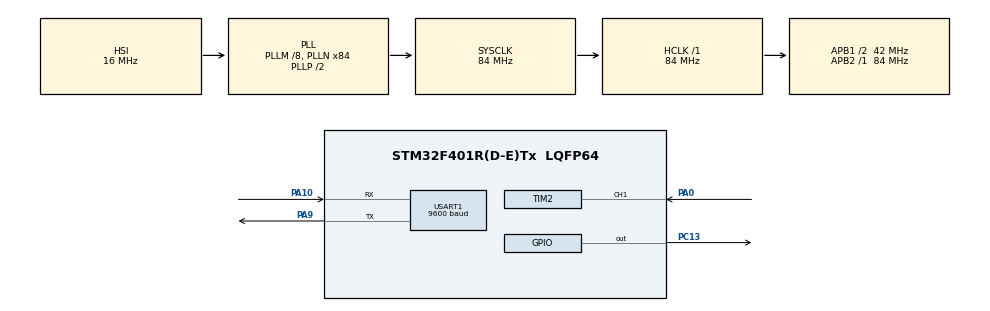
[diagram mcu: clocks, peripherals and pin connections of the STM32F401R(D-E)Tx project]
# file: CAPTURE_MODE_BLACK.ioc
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Mcu.Family=STM32F4
Mcu.Name=STM32F401R(D-E)Tx
Mcu.Package=LQFP64
NVIC.PriorityGroup=NVIC_PRIORITYGROUP_4
NVIC.TIM2_IRQn=true\:0\:0\:false\:false\:true\:true\:true\:true
PA0-WKUP.Signal=S_TIM2_CH1_ETR
PA10.Mode=Asynchronous
PA10.Signal=USART1_RX
PA13.Mode=Serial_Wire
PA13.Signal=SYS_JTMS-SWDIO
PA14.Mode=Serial_Wire
PA14.Signal=SYS_JTCK-SWCLK
PA9.Mode=Asynchronous
PA9.Signal=USART1_TX
PC13-ANTI_TAMP.Signal=GPIO_Output
PH0\ -\ OSC_IN.Mode=HSE-External-Oscillator
PH0\ -\ OSC_IN.Signal=RCC_OSC_IN
PH1\ -\ OSC_OUT.Mode=HSE-External-Oscillator
PH1\ -\ OSC_OUT.Signal=RCC_OSC_OUT
ProjectManager.HeapSize=0x200
ProjectManager.StackSize=0x400
ProjectManager.TargetToolchain=STM32CubeIDE
RCC.48MHZClocksFreq_Value=42000000
RCC.AHBFreq_Value=84000000
RCC.APB1CLKDivider=RCC_HCLK_DIV2
RCC.APB1Freq_Value=42000000
RCC.APB1TimFreq_Value=84000000
RCC.APB2Freq_Value=84000000
RCC.APB2TimFreq_Value=84000000
RCC.CortexFreq_Value=84000000
RCC.HCLKFreq_Value=84000000
RCC.HSE_VALUE=8000000
RCC.HSI_VALUE=16000000
RCC.LSE_VALUE=32768
RCC.PLLM=8
RCC.PLLN=84
RCC.SYSCLKFreq_VALUE=84000000
RCC.SYSCLKSource=RCC_SYSCLKSOURCE_PLLCLK
RCC.VCOOutputFreq_Value=168000000
SH.S_TIM2_CH1_ETR.0=TIM2_CH1,Input_Capture1_from_TI1
TIM2.Channel-Input_Capture1_from_TI1=TIM_CHANNEL_1
TIM2.ICFilter_CH1=15
TIM2.ICPolarity_CH1=TIM_INPUTCHANNELPOLARITY_RISING
TIM2.Period=4294967295
TIM2.Prescaler=83
USART1.BaudRate=9600
USART1.VirtualMode=VM_ASYNC
VP_TIM2_VS_ClockSourceINT.Mode=Internal
board=custom

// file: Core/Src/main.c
/* USER CODE BEGIN Header */
/**
  ******************************************************************************
  * @file           : main.c
  * @brief          : Main program body
  ******************************************************************************
  * @attention
  *
  * Copyright (c) 2024 STMicroelectronics.
  * All rights reserved.
  *
  * This software is licensed under terms that can be found in the LICENSE file
  * in the root directory of this software component.
  * If no LICENSE file comes with this software, it is provided AS-IS.
  *
  ******************************************************************************
  */
/* USER CODE END Header */
#include "main.h"

 TIM_HandleTypeDef htim2;

UART_HandleTypeDef huart1;

/* USER CODE BEGIN PV */
 volatile uint16_t start1 = 0, end_imp1 = 0, end_per1 = 0, start2 = 0, end_imp2 = 0, end_per2 = 0;
 volatile uint16_t period1 = 0, fill_factor1 = 0, long_imp1 = 0, period2 = 0, fill_factor2 = 0, long_imp2 = 0;
 volatile uint16_t freq1 = 0, freq2 = 0;
 volatile uint8_t flag_IC = 0;
/* USER CODE END PV */

void SystemClock_Config(void);
static void MX_GPIO_Init(void);
static void MX_TIM2_Init(void);
static void MX_USART1_UART_Init(void);

int main(void)
{

  /* MCU Configuration--------------------------------------------------------*/

  /* Reset of all peripherals, Initializes the Flash interface and the Systick. */
  HAL_Init();

  /* Configure the system clock */
  SystemClock_Config();

  /* Initialize all configured peripherals */
  MX_GPIO_Init();
  MX_TIM2_Init();
  MX_USART1_UART_Init();
  /* USER CODE BEGIN 2 */
  HAL_TIM_IC_Start_IT(&htim2, TIM_CHANNEL_1);
  HAL_TIM_IC_Start_IT(&htim2, TIM_CHANNEL_2);

  /* USER CODE END 2 */

  /* Infinite loop */
  /* USER CODE BEGIN WHILE */
  while (1)
  {
	  if(flag_IC == 1)
	  	{
	  		CALC_FREQ();
	  		flag_IC = 0;
	  	}
	  if(period1 > 2400)
	  {
		  HAL_GPIO_WritePin(GPIOC, GPIO_PIN_13, GPIO_PIN_SET);
	  }
	  else{
		  HAL_GPIO_WritePin(GPIOC, GPIO_PIN_13, GPIO_PIN_RESET);
	  }
    /* USER CODE END WHILE */

  }
}

void SystemClock_Config(void)
{
  RCC_OscInitTypeDef RCC_OscInitStruct = {0};
  RCC_ClkInitTypeDef RCC_ClkInitStruct = {0};

  /** Configure the main internal regulator output voltage
  */
  __HAL_RCC_PWR_CLK_ENABLE();
  __HAL_PWR_VOLTAGESCALING_CONFIG(PWR_REGULATOR_VOLTAGE_SCALE2);

  /** Initializes the RCC Oscillators according to the specified parameters
  * in the RCC_OscInitTypeDef structure.
  */
  RCC_OscInitStruct.OscillatorType = RCC_OSCILLATORTYPE_HSI;
  RCC_OscInitStruct.HSIState = RCC_HSI_ON;
  RCC_OscInitStruct.HSICalibrationValue = RCC_HSICALIBRATION_DEFAULT;
  RCC_OscInitStruct.PLL.PLLState = RCC_PLL_ON;
  RCC_OscInitStruct.PLL.PLLSource = RCC_PLLSOURCE_HSI;
  RCC_OscInitStruct.PLL.PLLM = 8;
  RCC_OscInitStruct.PLL.PLLN = 84;
  RCC_OscInitStruct.PLL.PLLP = RCC_PLLP_DIV2;
  RCC_OscInitStruct.PLL.PLLQ = 4;
  if (HAL_RCC_OscConfig(&RCC_OscInitStruct) != HAL_OK)
  {
    Error_Handler();
  }

  /** Initializes the CPU, AHB and APB buses clocks
  */
  RCC_ClkInitStruct.ClockType = RCC_CLOCKTYPE_HCLK|RCC_CLOCKTYPE_SYSCLK
                              |RCC_CLOCKTYPE_PCLK1|RCC_CLOCKTYPE_PCLK2;
  RCC_ClkInitStruct.SYSCLKSource = RCC_SYSCLKSOURCE_PLLCLK;
  RCC_ClkInitStruct.AHBCLKDivider = RCC_SYSCLK_DIV1;
  RCC_ClkInitStruct.APB1CLKDivider = RCC_HCLK_DIV2;
  RCC_ClkInitStruct.APB2CLKDivider = RCC_HCLK_DIV1;

  if (HAL_RCC_ClockConfig(&RCC_ClkInitStruct, FLASH_LATENCY_2) != HAL_OK)
  {
    Error_Handler();
  }
}

static void MX_TIM2_Init(void)
{

  TIM_ClockConfigTypeDef sClockSourceConfig = {0};
  TIM_MasterConfigTypeDef sMasterConfig = {0};
  TIM_IC_InitTypeDef sConfigIC = {0};

  htim2.Instance = TIM2;
  htim2.Init.Prescaler = 83;
  htim2.Init.CounterMode = TIM_COUNTERMODE_UP;
  htim2.Init.Period = 4294967295;
  htim2.Init.ClockDivision = TIM_CLOCKDIVISION_DIV1;
  htim2.Init.AutoReloadPreload = TIM_AUTORELOAD_PRELOAD_DISABLE;
  if (HAL_TIM_Base_Init(&htim2) != HAL_OK)
  {
    Error_Handler();
  }
  sClockSourceConfig.ClockSource = TIM_CLOCKSOURCE_INTERNAL;
  if (HAL_TIM_ConfigClockSource(&htim2, &sClockSourceConfig) != HAL_OK)
  {
    Error_Handler();
  }
  if (HAL_TIM_IC_Init(&htim2) != HAL_OK)
  {
    Error_Handler();
  }
  sMasterConfig.MasterOutputTrigger = TIM_TRGO_RESET;
  sMasterConfig.MasterSlaveMode = TIM_MASTERSLAVEMODE_DISABLE;
  if (HAL_TIMEx_MasterConfigSynchronization(&htim2, &sMasterConfig) != HAL_OK)
  {
    Error_Handler();
  }
  sConfigIC.ICPolarity = TIM_INPUTCHANNELPOLARITY_RISING;
  sConfigIC.ICSelection = TIM_ICSELECTION_DIRECTTI;
  sConfigIC.ICPrescaler = TIM_ICPSC_DIV1;
  sConfigIC.ICFilter = 15;
  if (HAL_TIM_IC_ConfigChannel(&htim2, &sConfigIC, TIM_CHANNEL_1) != HAL_OK)
  {
    Error_Handler();
  }

}

static void MX_USART1_UART_Init(void)
{

  huart1.Instance = USART1;
  huart1.Init.BaudRate = 9600;
  huart1.Init.WordLength = UART_WORDLENGTH_8B;
  huart1.Init.StopBits = UART_STOPBITS_1;
  huart1.Init.Parity = UART_PARITY_NONE;
  huart1.Init.Mode = UART_MODE_TX_RX;
  huart1.Init.HwFlowCtl = UART_HWCONTROL_NONE;
  huart1.Init.OverSampling = UART_OVERSAMPLING_16;
  if (HAL_UART_Init(&huart1) != HAL_OK)
  {
    Error_Handler();
  }

}

static void MX_GPIO_Init(void)
{
  GPIO_InitTypeDef GPIO_InitStruct = {0};

  /* GPIO Ports Clock Enable */
  __HAL_RCC_GPIOC_CLK_ENABLE();
  __HAL_RCC_GPIOH_CLK_ENABLE();
  __HAL_RCC_GPIOA_CLK_ENABLE();

  /*Configure GPIO pin Output Level */
  HAL_GPIO_WritePin(GPIOC, GPIO_PIN_13, GPIO_PIN_RESET);

  /*Configure GPIO pin : PC13 */
  GPIO_InitStruct.Pin = GPIO_PIN_13;
  GPIO_InitStruct.Mode = GPIO_MODE_OUTPUT_PP;
  GPIO_InitStruct.Pull = GPIO_NOPULL;
  GPIO_InitStruct.Speed = GPIO_SPEED_FREQ_LOW;
  HAL_GPIO_Init(GPIOC, &GPIO_InitStruct);

}

/* USER CODE BEGIN 4 */
void HAL_TIM_IC_CaptureCallback(TIM_HandleTypeDef *htim)
{
	if (htim->Instance == TIM2)
	{
		if(htim->Channel == HAL_TIM_ACTIVE_CHANNEL_1)
		{
			start1 = end_per1;
			end_per1 = HAL_TIM_ReadCapturedValue(&htim2, TIM_CHANNEL_1);
			end_imp1 = HAL_TIM_ReadCapturedValue(&htim2, TIM_CHANNEL_2);
		}

		flag_IC = 1;
	}

}
void CALC_FREQ (void)
{
	// длительность периода в импульсах (1 импульс = 1 мкс)
	if (end_per1 > start1)
	{
		period1 = end_per1 - start1;
		long_imp1 = end_imp1 - start1;
		if (period1 > 0)
		{
			freq1 = 1000000 / period1;
			fill_factor1 = (long_imp1 * 100) / period1;
		}
	}
}
/* USER CODE END 4 */

void Error_Handler(void)
{
  __disable_irq();
  while (1)
  {
  }
}
